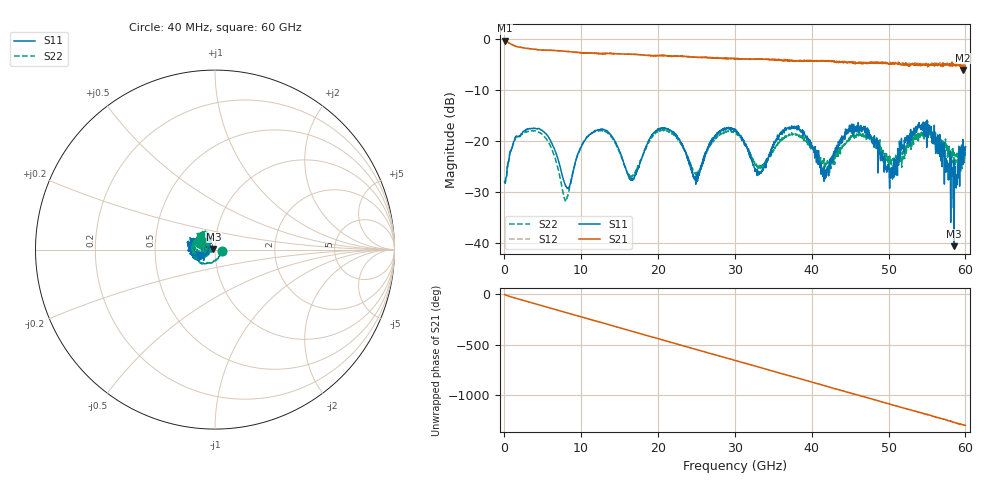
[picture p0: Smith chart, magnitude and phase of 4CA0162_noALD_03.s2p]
! File created by 'SoftPlot +Plus+ Measurement Management Software'
! SoftPlot +Plus+ Measurement Management Software
! Start 40.000000 MHz  Stop 60.000000 GHz  Points 1601
# MHZ S RI R 50
! S-Parameter data, F S11 S21 S12 S22
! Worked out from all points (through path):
!   1601 points, 40 MHz to 60 GHz, reference 50 ohm
!   highest |S21| = -0.37 dB at 40 MHz (marker M1); lowest = -6.1 dB at 59.66 GHz (marker M2)
!   group delay of S21, straight-line fit = 60.1 ps
!   lowest |S11| = -40.5 dB at 58.54 GHz (marker M3), VSWR 1.02, Z = 49.2 + j0.384 ohm
!   |S11| at or under -10 dB: start of sweep to end of sweep
!   |S22| runs from -31.7 to -17.5 dB; largest |S21 - S12| = 0.064
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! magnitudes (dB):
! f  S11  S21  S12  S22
! 40 MHz  -27.9  -0.4  -0.4  -28.2
! 1.427 GHz  -19.3  -1.5  -1.5  -19.5
! 4.012 GHz  -17.5  -2.1  -2.1  -18.0
! 5.999 GHz  -19.9  -2.2  -2.3  -20.9
! 8.022 GHz  -28.8  -2.5  -2.5  -31.5
! 10.05 GHz  -21.1  -2.8  -2.8  -21.0
! 13.31 GHz  -18.0  -2.9  -2.9  -18.3
! 16.6 GHz  -27.5  -3.1  -3.1  -26.8
! 20.05 GHz  -17.8  -3.4  -3.3  -18.0
! 24.85 GHz  -27.7  -3.6  -3.6  -26.3
! 27.36 GHz  -19.0  -3.8  -3.7  -19.8
! 30.02 GHz  -17.8  -3.9  -3.8  -18.4
! 33.13 GHz  -26.2  -4.0  -3.9  -24.9
! 36.77 GHz  -17.5  -4.3  -4.1  -19.1
! 40.03 GHz  -21.2  -4.3  -4.3  -21.2
! 41.67 GHz  -26.9  -4.4  -4.3  -25.5
! 46.73 GHz  -17.6  -4.9  -4.6  -19.2
! 50.03 GHz  -25.5  -4.9  -4.8  -24.5
! 54.23 GHz  -17.8  -5.3  -4.8  -19.1
! 58.54 GHz  -40.5  -5.0  -5.0  -22.3
! 59.66 GHz  -19.7  -6.1  -5.1  -23.1
! 60 GHz  -21.1  -5.6  -5.5  -21.0
